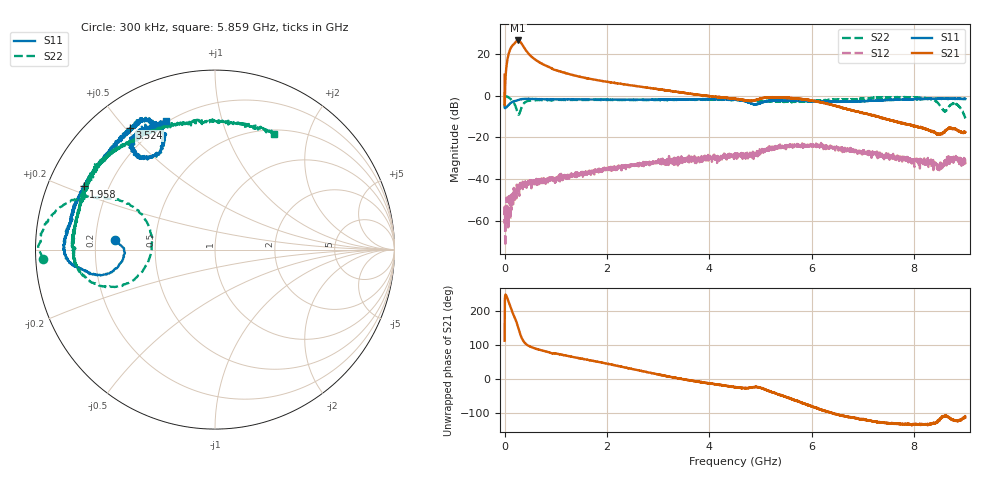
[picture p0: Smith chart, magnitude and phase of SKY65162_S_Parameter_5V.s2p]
!Agilent Technologies,E8358A,US42080705,A.07.50.37
!Agilent E8358A: A.07.50.37
!Date: Friday, June 04, 2010 07:28:21
!Correction: S11(Full 2 Port(1,2))
!S21(Full 2 Port(1,2))
!S12(Full 2 Port(1,2))
!S22(Full 2 Port(1,2))
!S2P File: Measurements: S11, S21, S12, S22:
# Hz S  dB  R 50
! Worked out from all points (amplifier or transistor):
!   3201 points, 300 kHz to 9 GHz, reference 50 ohm
!   highest |S21| = 26.6 dB at 261.9 MHz (marker M1)
!   |S21| within 3 dB of that: 135.6 MHz to 370.4 MHz (234.8 MHz wide, 92.8 % of centre)
!   unconditionally stable (mu >= 1): start of sweep to end of sweep
!   at 1.499 GHz: K = 2.08, MAG = 17.2 dB, |S12| = -37.3 dB
!   at 4.5 GHz: K = 2.67, MAG = 7.1 dB, |S12| = -30.0 dB
!   at 9 GHz: K = 41.47, MAG = -11.9 dB, |S12| = -32.1 dB
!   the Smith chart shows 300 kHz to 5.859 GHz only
!   S11 on the Smith chart (normalised r, x): 300 kHz: 0.28, +0.04; 1.958 GHz: 0.11, +0.23; 3.524 GHz: 0.12, +0.52; 5.859 GHz: 0.19, +0.67
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300000  -5.07 174.8  10.10 112.3  -53.25 24.8  -0.38 -176.8
6.217294e7  -4.88 -168.9  18.28 -126.8  -57.16 97.4  -0.59 168.9
1.156087e8  -3.53 -167.7  22.67 -148.9  -51.71 77.9  -1.56 160.7
1.549823e8  -2.97 -169.6  24.20 -165.5  -51.71 25.0  -2.71 156.6
1.999808e8  -2.53 -171.5  25.36 179.7  -50.06 57.6  -4.33 152.5
2.337297e8  -2.30 -172.4  26.24 166.2  -49.26 58.9  -6.61 154.1
2.618538e8  -2.07 -173.2  26.58 152.8  -42.84 69.6  -8.71 166.4
2.984151e8  -1.78 -174.7  26.16 135.0  -45.98 54.9  -8.02 -166.8
3.349763e8  -1.63 -177.1  25.00 120.2  -42.23 67.2  -5.44 -158.9
3.996617e8  -1.49 179.7  22.44 104.9  -41.24 54.5  -3.20 -164.2
4.868463e8  -1.55 176.6  19.73 95.7  -41.98 58.6  -2.34 -171.0
6.16217e8  -1.56 173.2  17.13 88.5  -41.84 43.4  -2.05 -176.3
8.158978e8  -1.74 169.5  14.36 80.3  -41.35 40.9  -2.04 -179.8
1.502125e9  -1.77 160.5  8.95 59.6  -37.79 46.8  -2.01 175.7
1.957735e9  -1.81 154.3  6.89 46.3  -34.91 51.1  -2.01 173.1
3.001137e9  -1.88 134.0  3.20 13.3  -31.39 40.6  -1.97 160.1
3.524245e9  -1.65 124.9  1.29 -1.8  -30.60 37.9  -2.00 151.9
4.50015e9  -1.80 117.2  -1.53 -23.0  -29.97 34.3  -2.01 137.6
5.858542e9  -2.30 110.9  -1.78 -72.1  -24.66 -11.1  -2.83 62.9
6.001975e9  -2.46 104.6  -2.22 -80.8  -24.28 -19.2  -2.53 52.7
7.500987e9  -2.03 36.5  -11.47 -130.7  -29.15 -65.1  -0.78 29.3
9e9  -1.52 36.8  -17.54 -112.6  -32.15 -27.2  -10.76 40.1
